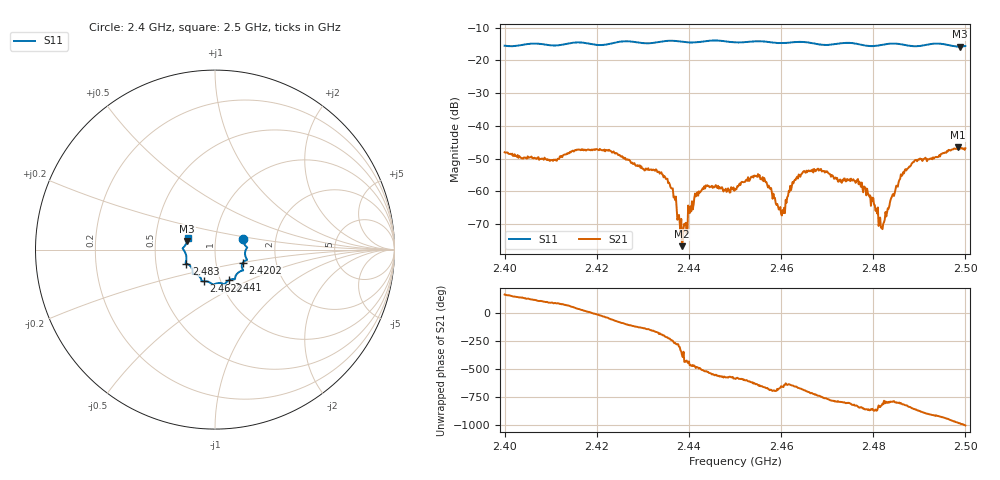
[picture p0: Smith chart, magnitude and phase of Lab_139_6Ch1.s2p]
# Hz S RI R 50
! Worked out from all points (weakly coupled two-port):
!   601 points, 2.4 GHz to 2.5 GHz, reference 50 ohm
!   highest |S21| = -46.59 dB at 2.4983 GHz (marker M1); lowest = -76.7 dB at 2.4385 GHz (marker M2)
!   lowest |S11| = -15.8 dB at 2.4988 GHz (marker M3), VSWR 1.39, Z = 36.4 + j3.48 ohm
!   |S11| at or under -10 dB: start of sweep to end of sweep
!   S12 and S22 are empty: the file has one direction only
!   S11 on the Smith chart (normalised r, x): 2.4 GHz: 1.36, +0.17; 2.4202 GHz: 1.35, -0.20; 2.441 GHz: 1.09, -0.39; 2.4622 GHz: 0.83, -0.30; 2.483 GHz: 0.72, -0.12; 2.5 GHz: 0.73, +0.09
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2.4e9  0.1561 0.06  -0.00384 0.000923  0 0  0 0
2.410833e9  0.1674 -0.017  -2.1e-05 0.00301  0 0  0 0
2.416667e9  0.1777 -0.0582  0.00385 0.00207  0 0  0 0
2.420167e9  0.1557 -0.0719  0.00424 -0.000953  0 0  0 0
2.433333e9  0.1131 -0.1525  -0.00198 -0.000149  0 0  0 0
2.436e9  0.111 -0.1652  -0.000632 0.000973  0 0  0 0
2.4385e9  0.0998 -0.1643  0.00014 -3.94e-05  0 0  0 0
2.441e9  0.0765 -0.1706  -0.000248 -0.000567  0 0  0 0
2.443833e9  0.0576 -0.1886  -0.00113 -0.000395  0 0  0 0
2.45e9  0.0263 -0.186  -0.000749 0.000795  0 0  0 0
2.4555e9  -0.0118 -0.195  0.000617 0.00141  0 0  0 0
2.460333e9  -0.0465 -0.1772  0.000263 0.000444  0 0  0 0
2.462167e9  -0.0635 -0.1766  0.000263 0.00101  0 0  0 0
2.466667e9  -0.0765 -0.1667  0.00202 0.000183  0 0  0 0
2.477e9  -0.1246 -0.123  -0.000848 -0.00112  0 0  0 0
2.481667e9  -0.15 -0.0821  -9.85e-05 -0.000261  0 0  0 0
2.483e9  -0.1593 -0.0782  8.31e-05 -0.000468  0 0  0 0
2.483333e9  -0.1609 -0.0775  0.000139 -0.000524  0 0  0 0
2.488833e9  -0.1599 -0.0368  -0.00214 -0.00183  0 0  0 0
2.498333e9  -0.1571 0.04  -0.000777 0.00462  0 0  0 0
2.498833e9  -0.1549 0.0465  -0.000242 0.00446  0 0  0 0
2.5e9  -0.1527 0.0632  0.00129 0.00435  0 0  0 0
